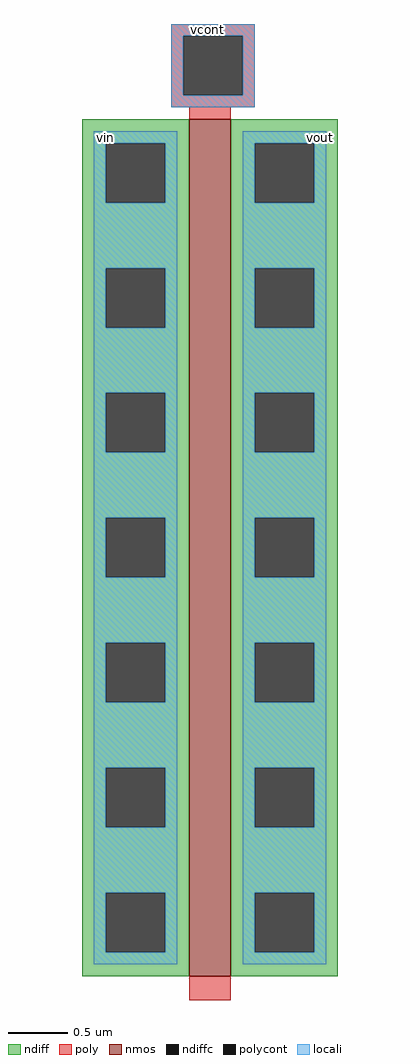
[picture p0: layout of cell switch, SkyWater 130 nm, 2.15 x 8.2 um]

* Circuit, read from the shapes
.subckt switch vcont vin vout
XM1 vout vcont vin VSUBS sky130_fd_pr__nfet_01v8 w=7.2 l=0.35
.ends

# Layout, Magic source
magic
tech sky130A
<< nmos >>
rect -5 0 30 720
<< ndiff >>
rect -95 700 -5 720
rect -95 650 -75 700
rect -25 650 -5 700
rect -95 595 -5 650
rect -95 545 -75 595
rect -25 545 -5 595
rect -95 490 -5 545
rect -95 440 -75 490
rect -25 440 -5 490
rect -95 385 -5 440
rect -95 335 -75 385
rect -25 335 -5 385
rect -95 280 -5 335
rect -95 230 -75 280
rect -25 230 -5 280
rect -95 175 -5 230
rect -95 125 -75 175
rect -25 125 -5 175
rect -95 70 -5 125
rect -95 20 -75 70
rect -25 20 -5 70
rect -95 0 -5 20
rect 30 700 120 720
rect 30 650 50 700
rect 100 650 120 700
rect 30 595 120 650
rect 30 545 50 595
rect 100 545 120 595
rect 30 490 120 545
rect 30 440 50 490
rect 100 440 120 490
rect 30 385 120 440
rect 30 335 50 385
rect 100 335 120 385
rect 30 280 120 335
rect 30 230 50 280
rect 100 230 120 280
rect 30 175 120 230
rect 30 125 50 175
rect 100 125 120 175
rect 30 70 120 125
rect 30 20 50 70
rect 100 20 120 70
rect 30 0 120 20
<< ndiffc >>
rect -75 650 -25 700
rect -75 545 -25 595
rect -75 440 -25 490
rect -75 335 -25 385
rect -75 230 -25 280
rect -75 125 -25 175
rect -75 20 -25 70
rect 50 650 100 700
rect 50 545 100 595
rect 50 440 100 490
rect 50 335 100 385
rect 50 230 100 280
rect 50 125 100 175
rect 50 20 100 70
<< poly >>
rect -20 790 50 800
rect -20 740 -10 790
rect 40 740 50 790
rect -20 730 50 740
rect -5 720 30 730
rect -5 -20 30 0
<< polycont >>
rect -10 740 40 790
<< locali >>
rect -20 790 50 800
rect -20 740 -10 790
rect 40 740 50 790
rect -20 730 50 740
rect -85 700 -15 710
rect -85 650 -75 700
rect -25 650 -15 700
rect -85 595 -15 650
rect -85 545 -75 595
rect -25 545 -15 595
rect -85 490 -15 545
rect -85 440 -75 490
rect -25 440 -15 490
rect -85 385 -15 440
rect -85 335 -75 385
rect -25 335 -15 385
rect -85 280 -15 335
rect -85 230 -75 280
rect -25 230 -15 280
rect -85 175 -15 230
rect -85 125 -75 175
rect -25 125 -15 175
rect -85 70 -15 125
rect -85 20 -75 70
rect -25 20 -15 70
rect -85 10 -15 20
rect 40 700 110 710
rect 40 650 50 700
rect 100 650 110 700
rect 40 595 110 650
rect 40 545 50 595
rect 100 545 110 595
rect 40 490 110 545
rect 40 440 50 490
rect 100 440 110 490
rect 40 385 110 440
rect 40 335 50 385
rect 100 335 110 385
rect 40 280 110 335
rect 40 230 50 280
rect 100 230 110 280
rect 40 175 110 230
rect 40 125 50 175
rect 100 125 110 175
rect 40 70 110 125
rect 40 20 50 70
rect 100 20 110 70
rect 40 10 110 20
<< labels >>
rlabel locali 10 795 10 795 1 vcont
rlabel locali -75 705 -75 705 1 vin
rlabel locali 105 705 105 705 1 vout
<< end >>
